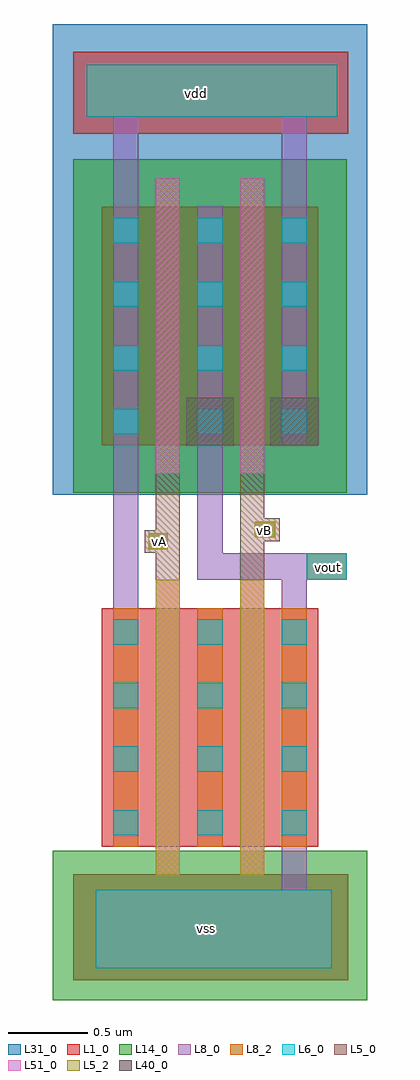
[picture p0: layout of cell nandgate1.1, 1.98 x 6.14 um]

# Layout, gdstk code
import gdstk
lib = gdstk.Library(unit=1e-6, precision=5e-09)
def R(c, l, rs):  # rectangles x0, y0, x1, y1
    for r in rs: c.add(gdstk.rectangle(r[:2], r[2:], *l))
def A(c, l, x, y, w, h, nx, ny, dx, dy):  # array of equal rectangles
    R(c, l, [(x+i*dx, y+j*dy, x+i*dx+w, y+j*dy+h) for i in range(nx) for j in range(ny)])
def P(c, l, *ps):  # polygons
    for p in ps: c.add(gdstk.Polygon(p, *l))
L1_0 = (1, 0)
L5_0 = (5, 0)
L5_2 = (5, 2)
L6_0 = (6, 0)
L8_0 = (8, 0)
L8_2 = (8, 2)
L14_0 = (14, 0)
L31_0 = (31, 0)
L40_0 = (40, 0)
L51_0 = (51, 0)

nmos = lib.new_cell('nmos')
R(nmos, L1_0, [(0,0,0.3,0.3), (0,0,0.83,1.5), (0.53,0,0.83,0.3)])
R(nmos, L5_0, [(0.34,-0.18,0.49,1.68)])
R(nmos, L5_2, [(0.34,-0.18,0.49,1.68)])
A(nmos, L6_0, 0.07, 0.07, 0.16, 0.16, 1, 4, 0, 0.4)
A(nmos, L6_0, 0.6, 0.07, 0.16, 0.16, 1, 4, 0, 0.4)
R(nmos, L8_0, [(0.07,0,0.23,1.5), (0.6,0,0.76,1.5)])
R(nmos, L8_2, [(0.07,0,0.23,1.5), (0.6,0,0.76,1.5)])
R(nmos, L51_0, [(0.34,-0.18,0.49,1.68)])
nmos.add(gdstk.Label('nmos', (0.415,0.75), layer=63, texttype=0))
nmos.add(gdstk.Label('nmos', (0.415,0.75), layer=51, texttype=0))

pmos = lib.new_cell('pmos')
R(pmos, L1_0, [(0,0,0.3,0.3), (0,0,0.83,1.5), (0.53,0,0.83,0.3)])
R(pmos, L5_0, [(0.34,-0.18,0.49,1.68), (0.34,-0.18,0.49,1.68)])
A(pmos, L6_0, 0.07, 0.07, 0.16, 0.16, 1, 4, 0, 0.4)
A(pmos, L6_0, 0.6, 0.07, 0.16, 0.16, 1, 4, 0, 0.4)
R(pmos, L8_0, [(0.07,0,0.23,1.5), (0.07,0,0.23,1.5), (0.6,0,0.76,1.5), (0.6,0,0.76,1.5)])
R(pmos, L14_0, [(-0.18,-0.3,1.01,1.8)])
R(pmos, L31_0, [(-0.31,-0.31,1.14,1.81)])
R(pmos, L40_0, [(0.53,0,0.83,0.3)])
R(pmos, L51_0, [(0.34,-0.18,0.49,1.68)])
pmos.add(gdstk.Label('pmos', (0.415,0.75), layer=63, texttype=0))
pmos.add(gdstk.Label('pmos', (0.415,0.75), layer=51, texttype=0))

nandgate1_1 = lib.new_cell('nandgate1.1')
R(nandgate1_1, L1_0, [(-0.55,-2.66,1.18,-1.995), (-0.55,2.665,1.18,3.18)])
P(nandgate1_1, L5_0, [(-0.03,-0.145),(-0.03,0.03),(-0.1,0.03),(-0.1,0.17),(-0.03,0.17),(-0.03,0.525),(0.12,0.525),(0.12,-0.145)],
  [(0.5,-0.14),(0.5,0.525),(0.65,0.525),(0.65,0.245),(0.75,0.245),(0.75,0.1),(0.65,0.1),(0.65,-0.14)])
R(nandgate1_1, L5_2, [(-0.075,0.05,0.045,0.15), (0.59,0.125,0.72,0.225)])
R(nandgate1_1, L6_0, [(-0.41,-2.585,1.075,-2.09), (0.92,-0.14,1.17,0.025), (-0.075,0.05,0.045,0.15), (0.59,0.125,0.72,0.225), (-0.465,2.77,1.11,3.1)])
R(nandgate1_1, L8_0, [(-0.3,-0.325,-0.14,0.705)])
P(nandgate1_1, L8_0, [(-0.41,-2.585),(-0.41,-2.09),(0.76,-2.09),(0.76,-1.82),(0.92,-1.82),(0.92,-2.09),(1.075,-2.09),(1.075,-2.585)],
  [(-0.3,2.205),(-0.3,2.77),(-0.465,2.77),(-0.465,3.1),(1.11,3.1),(1.11,2.77),(0.92,2.77),(0.92,2.205),(0.76,2.205),(0.76,2.77),(-0.14,2.77),(-0.14,2.205)],
  [(0.76,-0.32),(0.76,-0.14),(0.23,-0.14),(0.23,0.705),(0.39,0.705),(0.39,0.025),(1.17,0.025),(1.17,-0.14),(0.92,-0.14),(0.92,-0.32)])
R(nandgate1_1, L8_2, [(-0.41,-2.585,1.075,-2.09), (0.92,-0.14,1.17,0.025), (-0.075,0.05,0.045,0.15), (0.59,0.125,0.72,0.225), (-0.465,2.77,1.11,3.1)])
R(nandgate1_1, L14_0, [(-0.68,-2.785,1.3,-1.845)])
R(nandgate1_1, L31_0, [(-0.68,2.515,1.3,3.355)])
nandgate1_1.add(gdstk.Reference(nmos, (-0.37,-1.82)))
nandgate1_1.add(gdstk.Reference(pmos, (-0.37,0.705)))
nandgate1_1.add(gdstk.Reference(pmos, (0.16,0.705)))
nandgate1_1.add(gdstk.Reference(nmos, (0.16,-1.82)))
nandgate1_1.add(gdstk.Label('vdd', (0.225,2.92), layer=8, texttype=2))
nandgate1_1.add(gdstk.Label('vout', (1.055,-0.065), layer=8, texttype=2))
nandgate1_1.add(gdstk.Label('vss', (0.285,-2.335), layer=8, texttype=2))
nandgate1_1.add(gdstk.Label('vA', (-0.005,0.1), layer=5, texttype=2))
nandgate1_1.add(gdstk.Label('vB', (0.655,0.17), layer=5, texttype=2))

lib.write_gds('nandgate1.1.gds')
